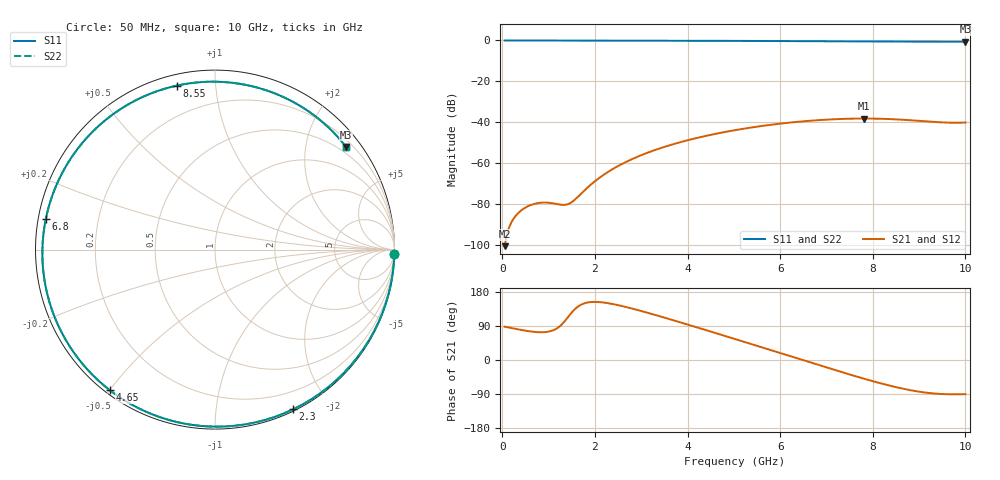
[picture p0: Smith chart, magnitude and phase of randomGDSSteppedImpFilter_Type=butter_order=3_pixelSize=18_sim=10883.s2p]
! freq	dB(S11)	phase(S11)	dB(S12)	phase(S12)
!  dB(S21)	phase(S21)	dB(S22)	phase(S22)
!S-par simulation data
#  GHz  S  DB  R 50
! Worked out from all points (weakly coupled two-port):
!   200 points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, 50 MHz to 10 GHz, reference 50 ohm
!   highest |S21| = -38.11 dB at 7.8 GHz (marker M1); lowest = -100.4 dB at 50 MHz (marker M2)
!   lowest |S11| = -0.7 dB at 10 GHz (marker M3), VSWR 26.69, Z = 17.4 + j143 ohm
!   |S11| at or under -10 dB: nowhere
!   |S22| runs from -0.7 to 0.0 dB; largest |S21 - S12| = 0
!   S11 on the Smith chart (normalised r, x): 50 MHz: 2, -79; 2.3 GHz: 0.02, -1.60; 4.65 GHz: 0.01, -0.50; 6.8 GHz: 0.02, +0.09; 8.55 GHz: 0.05, +0.79; 10 GHz: 0.35, +2.86
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0.05  -0.01 -1.4  -100.40 88.0  -100.40 88.0  -0.01 -1.4
0.7  -0.02 -19.8  -79.71 74.1  -79.71 74.1  -0.02 -19.8
0.95  -0.03 -26.8  -79.14 74.0  -79.14 74.0  -0.03 -26.8
1.4  -0.05 -39.3  -80.04 110.1  -80.04 110.1  -0.05 -39.3
1.55  -0.06 -43.5  -78.03 132.1  -78.03 132.1  -0.06 -43.5
1.75  -0.06 -49.0  -73.74 148.6  -73.74 148.6  -0.06 -49.0
2.3  -0.08 -63.9  -63.92 149.6  -63.92 149.6  -0.08 -63.9
2.8  -0.10 -77.4  -57.93 135.9  -57.93 135.9  -0.10 -77.4
3.4  -0.13 -93.4  -52.69 115.4  -52.69 115.4  -0.13 -93.4
4  -0.15 -109.4  -48.72 93.6  -48.72 93.6  -0.15 -109.4
4.65  -0.19 -126.9  -45.37 69.4  -45.37 69.4  -0.19 -126.8
5.05  -0.22 -137.8  -43.69 54.4  -43.69 54.4  -0.22 -137.8
5.9  -0.29 -162.2  -40.87 22.2  -40.87 22.2  -0.29 -162.1
6.7  -0.36 172.9  -39.09 -8.3  -39.09 -8.3  -0.36 173.0
6.8  -0.37 169.6  -38.93 -12.1  -38.93 -12.1  -0.37 169.7
7.3  -0.43 152.3  -38.33 -30.8  -38.33 -30.8  -0.43 152.4
7.8  -0.48 133.7  -38.11 -49.0  -38.11 -49.0  -0.48 133.8
8.35  -0.54 111.5  -38.36 -67.2  -38.36 -67.2  -0.54 111.6
8.55  -0.55 103.0  -38.57 -73.0  -38.57 -73.0  -0.55 103.2
8.9  -0.58 87.8  -39.07 -81.6  -39.07 -81.6  -0.58 87.9
9.25  -0.61 72.0  -39.65 -87.6  -39.65 -87.6  -0.61 72.2
10  -0.65 38.1  -40.05 -90.2  -40.05 -90.2  -0.65 38.2
